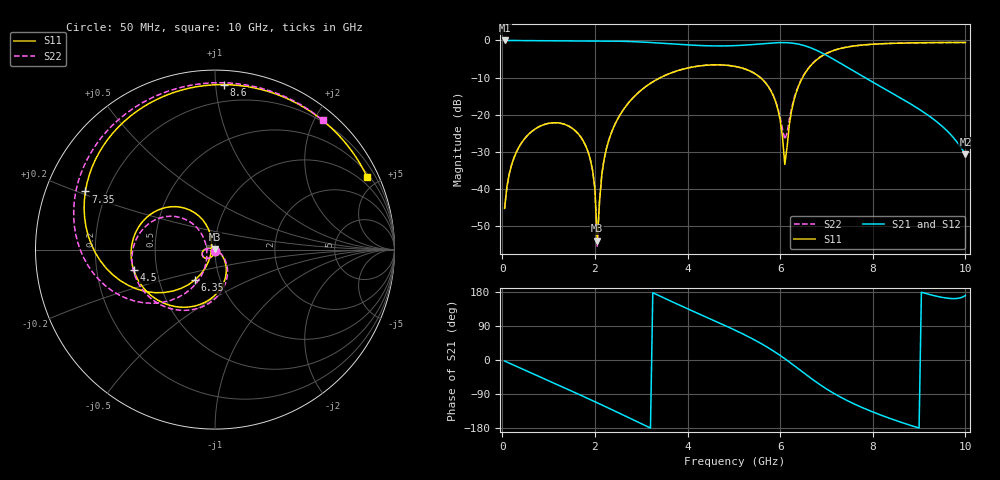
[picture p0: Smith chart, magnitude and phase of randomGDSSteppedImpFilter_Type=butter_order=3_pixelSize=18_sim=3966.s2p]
! freq	dB(S11)	phase(S11)	dB(S12)	phase(S12)
!  dB(S21)	phase(S21)	dB(S22)	phase(S22)
!S-par simulation data
#  GHz  S  DB  R 50
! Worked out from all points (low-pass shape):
!   200 points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, 50 MHz to 10 GHz, reference 50 ohm
!   highest |S21| = 0.00 dB at 50 MHz (marker M1); lowest = -30.7 dB at 10 GHz (marker M2)
!   |S21| within 3 dB of the highest: start of sweep to 6.844 GHz
!   lowest |S11| = -54.0 dB at 2.05 GHz (marker M3), VSWR 1.00, Z = 49.9 + j0.147 ohm
!   |S11| at or under -10 dB: start of sweep to 3.419 GHz; 5.569 GHz to 6.485 GHz (916.1 MHz wide, 15.2 % of centre)
!   |S22| runs from -55.5 to -0.6 dB; largest |S21 - S12| = 0
!   S11 on the Smith chart (normalised r, x): 50 MHz: 1.00, -0.01; 4.5 GHz: 0.37, -0.11; 6.35 GHz: 0.76, -0.27; 7.35 GHz: 0.12, +0.21; 8.6 GHz: 0.09, +1.05; 10 GHz: 0.63, +4.31
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0.05  -45.30 -90.3  -0.00 -2.8  -0.00 -2.8  -45.30 -90.4
0.25  -31.74 -103.6  -0.02 -13.8  -0.02 -13.8  -31.74 -103.2
0.6  -24.94 -123.8  -0.06 -32.9  -0.06 -32.9  -24.94 -123.0
1.25  -22.32 -160.2  -0.10 -68.4  -0.10 -68.4  -22.33 -158.4
1.75  -27.15 171.4  -0.12 -96.0  -0.12 -96.0  -27.18 174.2
1.95  -35.03 159.0  -0.12 -107.3  -0.12 -107.3  -35.12 163.2
2  -39.97 154.8  -0.13 -110.1  -0.13 -110.1  -40.15 160.5
2.05  -54.04 131.9  -0.13 -112.9  -0.13 -112.9  -55.50 159.5
2.15  -36.08 -28.9  -0.14 -118.6  -0.14 -118.6  -35.96 -28.2
2.35  -25.10 -41.9  -0.17 -130.1  -0.17 -130.1  -25.06 -39.5
3.4  -10.12 -104.1  -0.71 168.9  -0.71 168.9  -10.10 -99.2
4.5  -6.61 -165.7  -1.46 108.0  -1.46 108.0  -6.60 -157.9
5.05  -7.06 163.3  -1.39 77.3  -1.39 77.3  -7.05 173.2
5.8  -13.59 115.7  -0.70 28.0  -0.70 28.0  -13.50 132.3
6  -21.46 107.2  -0.59 12.0  -0.59 12.0  -20.70 133.9
6.1  -33.43 153.2  -0.59 3.5  -0.59 3.5  -26.70 178.6
6.35  -13.94 -123.3  -0.89 -19.1  -0.89 -19.1  -13.66 -118.8
6.7  -6.25 -153.1  -2.19 -51.3  -2.19 -51.3  -6.17 -142.8
7.35  -2.03 155.8  -6.51 -100.9  -6.51 -100.9  -2.01 170.6
8.35  -0.81 99.0  -13.72 -153.3  -13.72 -153.3  -0.82 118.6
8.6  -0.72 86.9  -15.51 -163.9  -15.51 -163.9  -0.73 107.6
10  -0.55 25.6  -30.69 170.1  -30.69 170.1  -0.56 50.3
